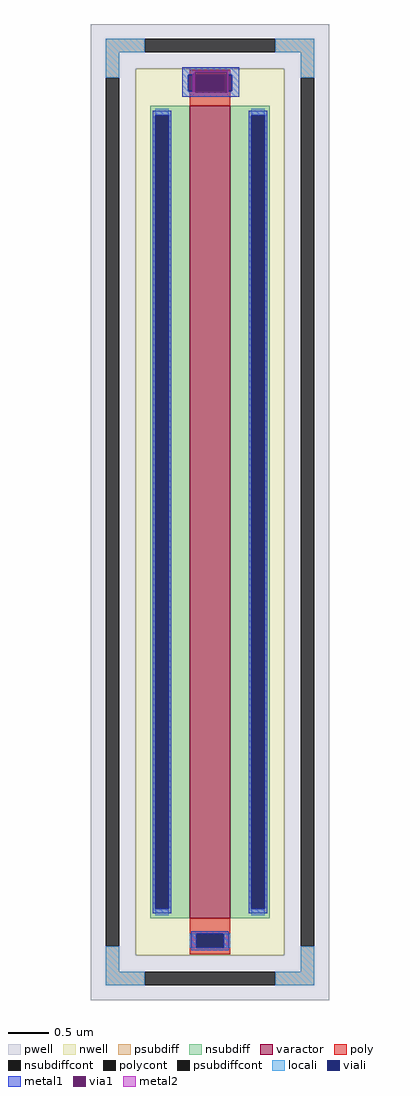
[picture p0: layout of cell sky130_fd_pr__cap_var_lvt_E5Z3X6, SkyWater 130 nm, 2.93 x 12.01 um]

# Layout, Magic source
magic
tech sky130A
magscale 1 2
<< nwell >>
rect -183 -1091 183 1091
<< pwell >>
rect -293 1091 293 1201
rect -293 -1091 -183 1091
rect 183 -1091 293 1091
rect -293 -1201 293 -1091
<< varactor >>
rect -50 -1000 50 1000
<< psubdiff >>
rect -257 1131 -161 1165
rect 161 1131 257 1165
rect -257 1069 -223 1131
rect 223 1069 257 1131
rect -257 -1131 -223 -1069
rect 223 -1131 257 -1069
rect -257 -1165 -161 -1131
rect 161 -1165 257 -1131
<< nsubdiff >>
rect -147 976 -50 1000
rect -147 -976 -135 976
rect -101 -976 -50 976
rect -147 -1000 -50 -976
rect 50 976 147 1000
rect 50 -976 101 976
rect 135 -976 147 976
rect 50 -1000 147 -976
<< psubdiffcont >>
rect -161 1131 161 1165
rect -257 -1069 -223 1069
rect 223 -1069 257 1069
rect -161 -1165 161 -1131
<< nsubdiffcont >>
rect -135 -976 -101 976
rect 101 -976 135 976
<< poly >>
rect -50 1072 50 1088
rect -50 1038 -34 1072
rect 34 1038 50 1072
rect -50 1000 50 1038
rect -50 -1038 50 -1000
rect -50 -1072 -34 -1038
rect 34 -1072 50 -1038
rect -50 -1088 50 -1072
<< polycont >>
rect -34 1038 34 1072
rect -34 -1072 34 -1038
<< locali >>
rect -257 1131 -161 1165
rect 161 1131 257 1165
rect -257 1069 -223 1131
rect 223 1069 257 1131
rect -135 976 -101 992
rect -135 -992 -101 -976
rect 101 976 135 992
rect 101 -992 135 -976
rect -257 -1131 -223 -1069
rect -50 -1072 -34 -1038
rect 34 -1072 50 -1038
rect 223 -1131 257 -1069
rect -257 -1165 -161 -1131
rect 161 -1165 257 -1131
<< viali >>
rect -54 1072 54 1076
rect -54 1038 -34 1072
rect -34 1038 34 1072
rect 34 1038 54 1072
rect -54 1036 54 1038
rect -135 -976 -101 976
rect 101 -976 135 976
rect -34 -1072 34 -1038
<< metal1 >>
rect -68 1084 72 1094
rect -68 1076 -38 1084
rect 42 1076 72 1084
rect -68 1036 -54 1076
rect 54 1036 72 1076
rect -68 1032 -38 1036
rect 42 1032 72 1036
rect -68 1022 72 1032
rect -141 976 -95 988
rect -141 -976 -135 976
rect -101 -976 -95 976
rect -141 -988 -95 -976
rect 95 976 141 988
rect 95 -976 101 976
rect 135 -976 141 976
rect 95 -988 141 -976
rect -46 -1038 46 -1032
rect -46 -1072 -34 -1038
rect 34 -1072 46 -1038
rect -46 -1078 46 -1072
<< via1 >>
rect -38 1076 42 1084
rect -38 1036 42 1076
rect -38 1032 42 1036
<< metal2 >>
rect -43 1084 45 1086
rect -43 1032 -38 1084
rect 42 1032 45 1084
rect -43 1026 45 1032
<< properties >>
string FIXED_BBOX -240 -1148 240 1148
string gencell sky130_fd_pr__cap_var_lvt
string library sky130
string parameters w 10 l 0.5 m 1 nf 1 diffcov 100 polycov 100 guard 1 glc 1 grc 1 gtc 1 gbc 1 tbcov 100 rlcov 100 topc 1 botc 1 poverlap 0 doverlap 1 lmin 0.18 wmin 1.0 compatible {sky130_fd_pr__cap_var_lvt  sky130_fd_pr__cap_var_hvt sky130_fd_pr__cap_var} full_metal 1 viasrc 100 viadrn 100 viagate 100 viagb 0 viagr 0 viagl 0 viagt 0
<< end >>
